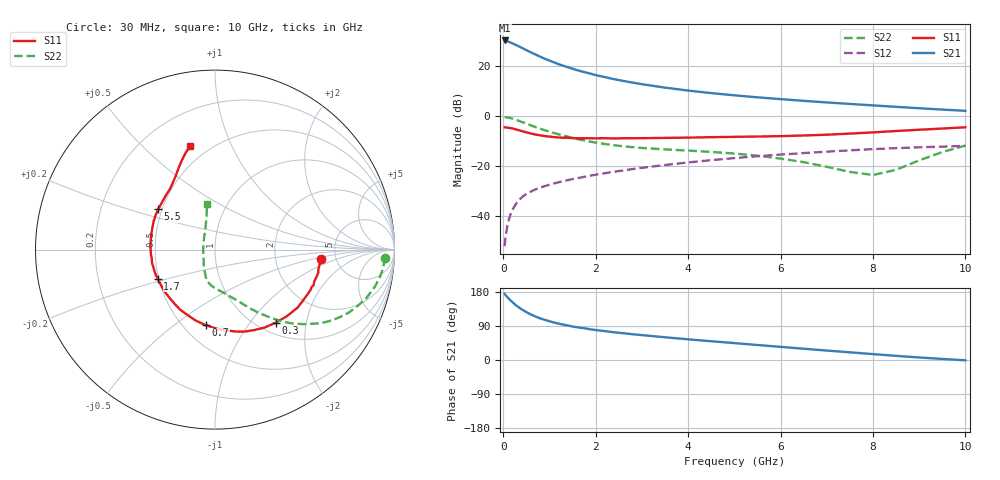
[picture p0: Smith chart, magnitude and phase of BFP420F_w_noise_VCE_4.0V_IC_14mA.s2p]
! Infineon Technologies  Discrete & RF Semiconductors
! BFP420F
! VCE =  4.0 V,  IC =  14 mA
! Common Emitter S-Parameters:  Sep 2011
# GHz  S  MA  R  50
!  f  S11  S21  S12  S22
! GHz  MAG  ANG  MAG  ANG  MAG  ANG  MAG  ANG
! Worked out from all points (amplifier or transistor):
!   54 points, 30 MHz to 10 GHz, reference 50 ohm
!   highest |S21| = 30.2 dB at 30 MHz (marker M1)
!   |S21| within 3 dB of that: start of sweep to 406.7 MHz
!   unconditionally stable (mu >= 1): 1.911 GHz to end of sweep
!   at 120 MHz: K = 0.34, MSG = 35.6 dB, |S12| = -41.5 dB
!   at 1.3 GHz: K = 0.83, MSG = 23.1 dB, |S12| = -26.1 dB
!   at 10 GHz: K = 1.26, MAG = 4.0 dB, |S12| = -12.0 dB
!   lowest NFmin = 1.34 dB at 450 MHz
!   S11 on the Smith chart (normalised r, x): 30 MHz: 3.80, -0.63; 300 MHz: 1.19, -1.35; 700 MHz: 0.64, -0.66; 1.7 GHz: 0.49, -0.18; 5.5 GHz: 0.48, +0.25; 10 GHz: 0.40, +0.71
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0.03  0.5928 -5.2  32.25 174.2  0.0025 59.2  0.9461 -2.7
0.05  0.5889 -8.0  31.71 171.1  0.0038 66.9  0.9448 -4.6
0.1  0.5809 -18.1  30.95 164.4  0.0069 73.4  0.9307 -9.5
0.15  0.5714 -26.6  29.5 158.1  0.0102 73.6  0.909 -13.9
0.25  0.5455 -42.9  26.8 147.1  0.016 70.6  0.8528 -21.7
0.3  0.5293 -50.3  25.62 142.3  0.0189 68.6  0.8243 -25.2
0.4  0.4985 -64.0  22.98 133.6  0.0235 65.5  0.7618 -31.1
0.5  0.4704 -76.0  20.67 126.4  0.0276 63.1  0.7022 -35.9
0.6  0.4452 -87.1  18.58 120.1  0.0309 61.1  0.6465 -40.0
0.7  0.425 -96.7  16.86 114.7  0.0342 59.9  0.6001 -43.4
0.8  0.4097 -105.3  15.28 109.8  0.037 59.0  0.5566 -46.3
0.9  0.3953 -112.8  13.89 105.9  0.0397 58.4  0.5184 -48.8
1.1  0.3779 -125.9  11.77 98.9  0.0448 57.7  0.4547 -53.2
1.5  0.3605 -146.0  8.791 88.3  0.0547 57.3  0.3655 -60.4
1.7  0.3576 -153.2  7.746 84.6  0.0594 57.2  0.3315 -63.8
2  0.3569 -162.6  6.544 79.1  0.0668 56.9  0.2934 -68.8
2.4  0.3558 -172.1  5.422 73.1  0.0768 56.3  0.2599 -75.2
3.5  0.3643 168.4  3.683 60.0  0.1047 53.4  0.2146 -89.9
5.5  0.388 144.6  2.356 39.6  0.1565 43.9  0.1609 -108.7
7  0.4218 126.3  1.863 24.9  0.1932 35.2  0.0964 -130.5
8.5  0.5 113.8  1.521 10.9  0.2273 25.3  0.0839 137.8
10  0.5938 103.4  1.266 -0.8  0.2519 16.2  0.256 100.0
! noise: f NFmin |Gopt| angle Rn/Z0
0.45  1.34  0.08  173  0.11
0.9  1.34  0.09  161  0.13
1.9  1.47  0.19  177  0.19
2.4  1.53  0.19  -180  0.12
3.5  1.78  0.24  -164  0.17
